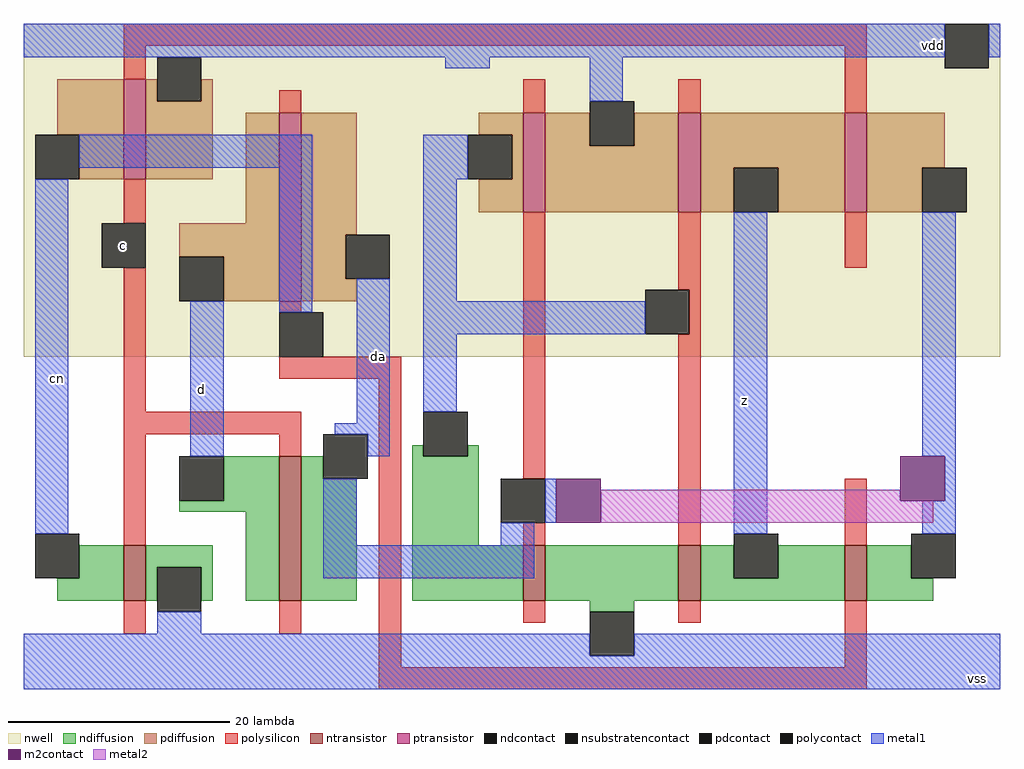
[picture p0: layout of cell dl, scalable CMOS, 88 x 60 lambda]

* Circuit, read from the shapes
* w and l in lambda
.subckt dl c cn d da vdd vss z
M1 vss c cn VSUBS nfet w=5 l=2
M2 da c d VSUBS nfet w=13 l=2
M3 vss da n1 VSUBS nfet w=5 l=2
M4 z n1 vss VSUBS nfet w=5 l=2
M5 da cn z VSUBS nfet w=5 l=2
M6 vdd c cn vdd pfet w=9 l=2
M7 da cn d vdd pfet w=17 l=2
M8 vdd da n1 vdd pfet w=9 l=2
M9 z n1 vdd vdd pfet w=9 l=2
M10 da c z vdd pfet w=9 l=2
.ends

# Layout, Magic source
magic
tech scmos
<< nwell >>
rect -28 8 60 38
<< polysilicon >>
rect -19 36 48 38
rect -19 33 -17 36
rect -5 30 -3 32
rect 17 30 19 33
rect -19 20 -17 24
rect -19 3 -17 16
rect 31 30 33 33
rect 46 30 48 36
rect -5 12 -3 13
rect -5 6 6 8
rect -19 1 -3 3
rect -19 -9 -17 1
rect -5 -1 -3 1
rect -19 -17 -17 -14
rect -5 -17 -3 -14
rect 4 -20 6 6
rect 17 -3 19 21
rect 31 14 33 21
rect 46 16 48 21
rect 32 10 33 14
rect 17 -9 19 -7
rect 31 -9 33 10
rect 46 -9 48 -3
rect 17 -16 19 -14
rect 31 -16 33 -14
rect 46 -20 48 -14
rect 4 -22 48 -20
<< ndiffusion >>
rect -10 -5 -5 -1
rect -14 -6 -5 -5
rect -23 -12 -19 -9
rect -25 -14 -19 -12
rect -17 -11 -11 -9
rect -17 -14 -16 -11
rect -12 -14 -11 -11
rect -8 -14 -5 -6
rect -3 -3 -1 -1
rect -3 -14 2 -3
rect 7 -1 8 0
rect 12 -1 13 0
rect 7 -9 13 -1
rect 7 -14 17 -9
rect 19 -14 31 -9
rect 33 -12 36 -9
rect 40 -12 46 -9
rect 33 -14 46 -12
rect 48 -12 52 -9
rect 48 -14 54 -12
rect 23 -15 27 -14
<< pdiffusion >>
rect -25 28 -19 33
rect -23 24 -19 28
rect -17 31 -16 33
rect -12 31 -11 33
rect -17 24 -11 31
rect -8 20 -5 30
rect -14 17 -5 20
rect -10 13 -5 17
rect -3 19 2 30
rect 13 28 17 30
rect 16 24 17 28
rect 13 21 17 24
rect 19 27 23 30
rect 27 27 31 30
rect 19 21 31 27
rect 33 25 46 30
rect 33 21 36 25
rect 40 21 46 25
rect 48 25 55 30
rect 48 21 53 25
rect -3 15 1 19
rect -3 13 2 15
<< metal1 >>
rect -28 35 55 38
rect 10 34 14 35
rect 23 31 26 35
rect 59 35 60 38
rect -23 25 -2 28
rect -27 -8 -24 24
rect -13 -1 -10 13
rect -5 12 -2 25
rect 8 24 12 28
rect 2 2 5 15
rect 0 1 5 2
rect 3 -1 5 1
rect 8 13 11 24
rect 8 10 28 13
rect 8 3 11 10
rect -1 -9 2 -3
rect 19 -7 20 -3
rect 15 -9 18 -7
rect -1 -12 18 -9
rect 36 -8 39 21
rect 53 -1 56 21
rect 55 -5 56 -1
rect 53 -8 56 -5
rect -16 -17 -12 -15
rect -28 -19 23 -17
rect 27 -19 60 -17
rect -28 -22 60 -19
<< metal2 >>
rect 24 -5 51 -4
rect 24 -7 54 -5
<< ntransistor >>
rect -19 -14 -17 -9
rect -5 -14 -3 -1
rect 17 -14 19 -9
rect 31 -14 33 -9
rect 46 -14 48 -9
<< ptransistor >>
rect -19 24 -17 33
rect -5 13 -3 30
rect 17 21 19 30
rect 31 21 33 30
rect 46 21 48 30
<< polycontact >>
rect -21 16 -17 20
rect -5 8 -1 12
rect 28 10 32 14
rect 15 -7 19 -3
<< ndcontact >>
rect -27 -12 -23 -8
rect -14 -5 -10 -1
rect -16 -15 -12 -11
rect -1 -3 3 1
rect 8 -1 12 3
rect 36 -12 40 -8
rect 52 -12 56 -8
rect 23 -19 27 -15
<< pdcontact >>
rect -27 24 -23 28
rect -16 31 -12 35
rect -14 13 -10 17
rect 12 24 16 28
rect 23 27 27 31
rect 36 21 40 25
rect 53 21 57 25
rect 1 15 5 19
<< m2contact >>
rect 20 -7 24 -3
rect 51 -5 55 -1
<< nsubstratencontact >>
rect 55 34 59 38
<< labels >>
rlabel polycontact -19 18 -19 18 1 c
rlabel metal1 -25 6 -25 6 3 cn
rlabel metal1 -12 5 -12 5 1 d
rlabel metal1 54 36 54 36 5 vdd
rlabel metal1 58 -21 58 -21 8 vss
rlabel metal1 37 4 37 4 1 z
rlabel metal1 4 8 4 8 1 da
<< end >>
